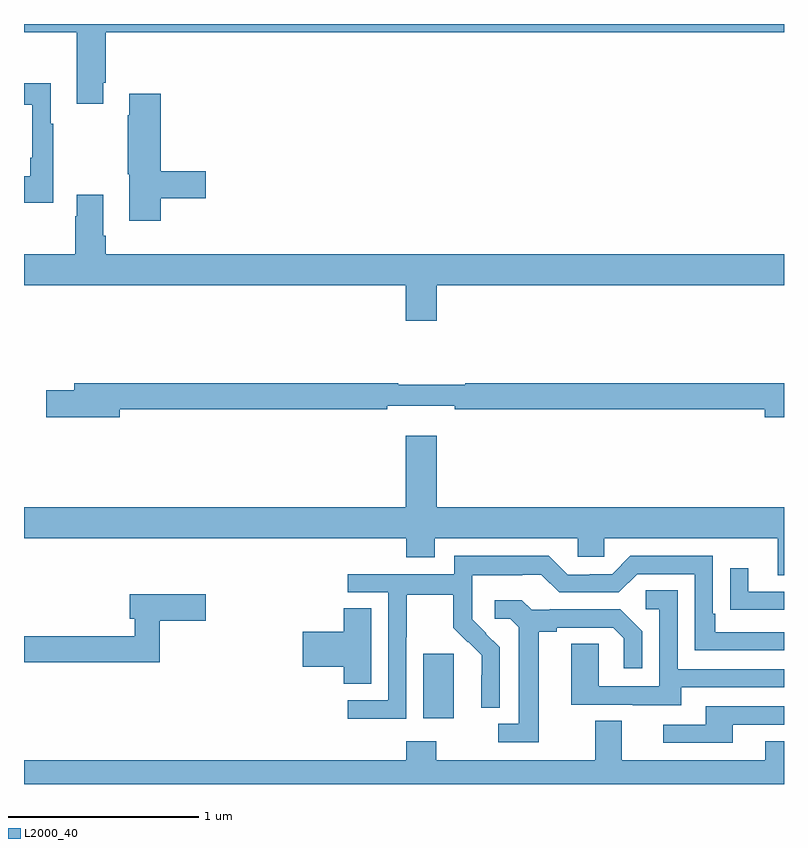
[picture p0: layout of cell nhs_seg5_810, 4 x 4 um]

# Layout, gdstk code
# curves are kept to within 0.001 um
import gdstk
lib = gdstk.Library(unit=1e-6, precision=1e-09)
def R(c, l, rs):  # rectangles x0, y0, x1, y1
    for r in rs: c.add(gdstk.rectangle(r[:2], r[2:], *l))
def P(c, l, *ps):  # polygons
    for p in ps: c.add(gdstk.Polygon(p, *l))
L2000_40 = (2000, 40)

nhs_seg5_810 = lib.new_cell('nhs_seg5_810')
R(nhs_seg5_810, L2000_40, [(165.101,857.145,165.262,857.485)])
P(nhs_seg5_810, L2000_40, [(163.417,860.491),(163.43,860.491),(163.43,860.756),(167,860.756),(167,860.799),(163,860.799),(163,860.756),(163.277,860.756),(163.277,860.379),(163.417,860.379)],
  [(163.153,860.275),(163.141,860.275),(163.141,860.488),(163,860.488),(163,860.375),(163.044,860.375),(163.044,860.095),(163.032,860.095),(163.032,859.999),(163,859.999),(163,859.859),(163.153,859.859)],
  [(163.721,859.882),(163.957,859.882),(163.957,860.024),(163.721,860.024),(163.721,860.431),(163.553,860.431),(163.553,860.318),(163.546,860.318),(163.546,860.007),(163.553,860.007),(163.553,859.764),(163.721,859.764)],
  [(163.43,859.684),(163.417,859.684),(163.417,859.9),(163.277,859.9),(163.277,859.787),(163.27,859.787),(163.27,859.588),(163,859.588),(163,859.424),(165.008,859.424),(165.008,859.236),(165.172,859.236),(165.172,859.424),(167,859.424),(167,859.588),(163.43,859.588)],
  [(163.504,858.772),(164.912,858.772),(164.912,858.791),(165.268,858.791),(165.268,858.772),(166.898,858.772),(166.898,858.73),(167,858.73),(167,858.908),(165.322,858.908),(165.322,858.901),(164.969,858.901),(164.969,858.908),(163.265,858.908),(163.265,858.872),(163.116,858.872),(163.116,858.73),(163.504,858.73)],
  [(167,858.256),(165.172,858.256),(165.172,858.631),(165.008,858.631),(165.008,858.256),(163,858.256),(163,858.092),(165.011,858.092),(165.011,857.993),(165.163,857.993),(165.163,858.092),(165.915,858.092),(165.915,857.994),(166.053,857.994),(166.053,858.092),(166.967,858.092),(166.967,857.898),(167,857.898)],
  [(165.012,857.572),(165.015,857.572),(165.015,857.796),(165.259,857.796),(165.259,857.621),(165.336,857.544),(165.339,857.547),(165.41,857.477),(165.41,857.372),(165.407,857.372),(165.407,857.2),(165.504,857.2),(165.504,857.518),(165.358,857.666),(165.358,857.763),(165.36,857.763),(165.36,857.897),(165.623,857.897),(165.623,857.901),(165.723,857.901),(165.816,857.808),(166.131,857.808),(166.227,857.904),(166.53,857.904),(166.53,857.502),(167,857.502),(167,857.598),(166.639,857.598),(166.639,857.695),(166.626,857.695),(166.626,858),(166.191,858),(166.095,857.904),(165.977,857.904),(165.977,857.901),(165.861,857.901),(165.761,858.001),(165.264,858.001),(165.264,857.904),(164.703,857.904),(164.703,857.808),(164.916,857.808),(164.916,857.241),(164.703,857.241),(164.703,857.143),(165.012,857.143)],
  [(167,857.811),(166.813,857.811),(166.813,857.935),(166.717,857.935),(166.717,857.716),(166.819,857.716),(166.819,857.715),(167,857.715)],
  [(166.459,857.307),(167,857.307),(167,857.403),(166.44,857.403),(166.44,857.819),(166.272,857.819),(166.272,857.718),(166.344,857.718),(166.344,857.313),(166.026,857.313),(166.026,857.537),(165.881,857.537),(165.881,857.217),(166.205,857.217),(166.205,857.213),(166.459,857.213)],
  [(163.715,857.657),(163.957,857.657),(163.957,857.799),(163.556,857.799),(163.556,857.669),(163.583,857.669),(163.583,857.576),(163,857.576),(163,857.44),(163.715,857.44)],
  [(165.709,857.6),(165.805,857.6),(165.805,857.622),(166.1,857.622),(166.157,857.565),(166.157,857.409),(166.254,857.409),(166.254,857.602),(166.138,857.718),(165.766,857.718),(165.766,857.715),(165.672,857.715),(165.62,857.767),(165.477,857.767),(165.477,857.67),(165.558,857.67),(165.605,857.623),(165.605,857.115),(165.495,857.115),(165.495,857.019),(165.709,857.019)],
  [(164.827,857.723),(164.684,857.723),(164.684,857.6),(164.466,857.6),(164.466,857.417),(164.684,857.417),(164.684,857.326),(164.827,857.326)],
  [(166.729,857.112),(167,857.112),(167,857.208),(166.589,857.208),(166.589,857.112),(166.365,857.112),(166.365,857.016),(166.729,857.016)],
  [(163,856.799),(167,856.799),(167,857.023),(166.901,857.023),(166.901,856.924),(166.147,856.924),(166.147,857.132),(166.007,857.132),(166.007,856.924),(165.171,856.924),(165.171,857.023),(165.011,857.023),(165.011,856.924),(163,856.924)])

lib.write_gds('nhs_seg5_810.gds')
